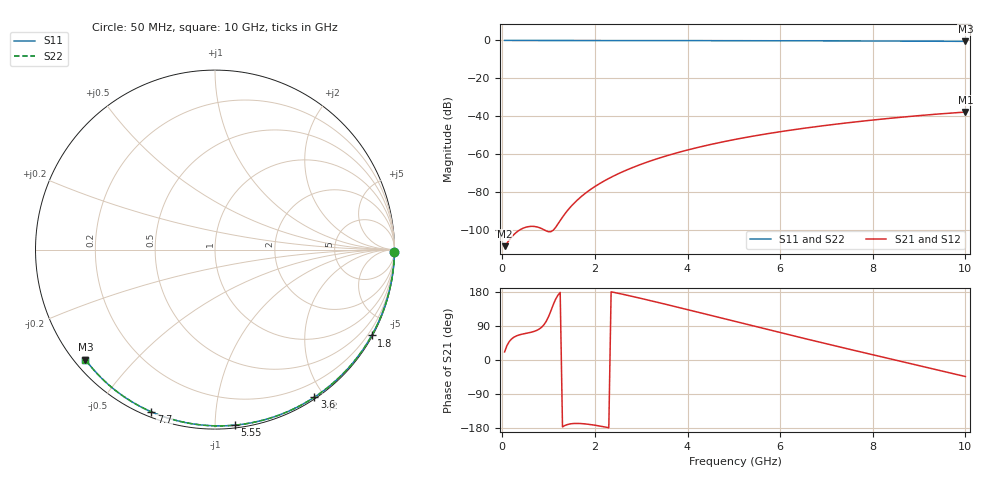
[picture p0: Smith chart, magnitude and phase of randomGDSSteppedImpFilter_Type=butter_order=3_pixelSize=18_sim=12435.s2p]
! freq	dB(S11)	phase(S11)	dB(S12)	phase(S12)
!  dB(S21)	phase(S21)	dB(S22)	phase(S22)
!S-par simulation data
#  GHz  S  DB  R 50
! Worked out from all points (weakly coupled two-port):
!   200 points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, 50 MHz to 10 GHz, reference 50 ohm
!   highest |S21| = -37.77 dB at 10 GHz (marker M1); lowest = -108.5 dB at 50 MHz (marker M2)
!   lowest |S11| = -0.5 dB at 10 GHz (marker M3), VSWR 36.67, Z = 1.55 - j18.3 ohm
!   |S11| at or under -10 dB: nowhere
!   |S22| runs from -0.5 to 0.0 dB; largest |S21 - S12| = 0
!   S11 on the Smith chart (normalised r, x): 50 MHz: open; 1.8 GHz: 0.03, -3.91; 3.6 GHz: 0.02, -1.88; 5.55 GHz: 0.02, -1.12; 7.7 GHz: 0.02, -0.68; 10 GHz: 0.03, -0.37
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0.05  -0.00 -0.8  -108.46 21.5  -108.46 21.5  -0.00 -0.8
0.45  -0.01 -7.3  -98.98 68.8  -98.98 68.8  -0.01 -7.3
0.9  -0.02 -14.5  -99.80 93.1  -99.80 93.1  -0.02 -14.5
1.75  -0.04 -27.9  -81.41 -168.2  -81.41 -168.2  -0.04 -27.9
1.8  -0.04 -28.7  -80.44 -168.8  -80.44 -168.8  -0.04 -28.7
1.85  -0.04 -29.5  -79.53 -169.5  -79.53 -169.5  -0.04 -29.5
2.05  -0.04 -32.6  -76.24 -173.1  -76.24 -173.1  -0.04 -32.6
2.2  -0.04 -34.9  -74.08 -176.4  -74.08 -176.4  -0.04 -34.9
2.55  -0.05 -40.3  -69.76 174.8  -69.76 174.8  -0.05 -40.3
2.95  -0.06 -46.4  -65.71 163.8  -65.71 163.8  -0.06 -46.4
3.4  -0.07 -53.1  -61.92 150.8  -61.92 150.8  -0.07 -53.1
3.6  -0.08 -56.1  -60.43 144.9  -60.43 144.9  -0.08 -56.1
3.9  -0.08 -60.4  -58.39 135.9  -58.39 135.9  -0.08 -60.4
4.3  -0.09 -66.2  -55.95 123.9  -55.95 123.9  -0.09 -66.2
5.05  -0.12 -76.7  -52.07 101.1  -52.07 101.1  -0.12 -76.7
5.55  -0.14 -83.6  -49.87 85.9  -49.87 85.9  -0.14 -83.6
6.1  -0.16 -90.9  -47.74 69.4  -47.74 69.4  -0.16 -90.9
6.7  -0.19 -98.8  -45.68 51.6  -45.68 51.6  -0.19 -98.8
7.7  -0.26 -111.5  -42.74 22.4  -42.74 22.4  -0.26 -111.5
8.35  -0.31 -119.5  -41.09 3.8  -41.09 3.8  -0.31 -119.5
9.2  -0.38 -129.9  -39.21 -20.6  -39.21 -20.6  -0.38 -129.9
10  -0.47 -139.7  -37.77 -43.7  -37.77 -43.7  -0.47 -139.7
